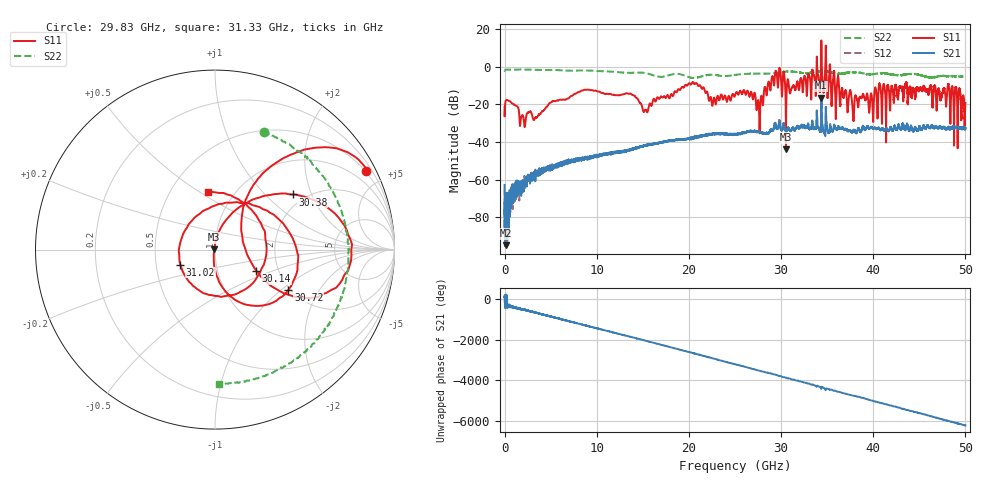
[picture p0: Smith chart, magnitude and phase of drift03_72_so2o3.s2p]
!Created with skrf (http://scikit-rf.org).
# Hz S RI R 50.0
!freq ReS11 ImS11 ReS21 ImS21 ReS12 ImS12 ReS22 ImS22
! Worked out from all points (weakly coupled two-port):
!   10001 points, 300 kHz to 50 GHz, reference 50 ohm
!   highest |S21| = -16.37 dB at 34.37 GHz (marker M1); lowest = -94.9 dB at 140.3 MHz (marker M2)
!   lowest |S11| = -43.9 dB at 30.53 GHz (marker M3), VSWR 1.01, Z = 49.4 + j0.264 ohm
!   |S11| at or under -10 dB: start of sweep to 19.55 GHz; 21.25 GHz to 28.55 GHz (7.296 GHz wide, 29.3 % of centre); 36.28 GHz to 40.61 GHz (4.331 GHz wide, 11.3 % of centre) (the widest 3 of 40)
!   |S22| runs from -5.9 to -1.3 dB; largest |S21 - S12| = 0.026
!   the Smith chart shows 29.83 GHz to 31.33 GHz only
!   S11 on the Smith chart (normalised r, x): 29.83 GHz: 0.44, +4.05; 30.14 GHz: 1.54, -0.39; 30.38 GHz: 1.73, +1.47; 30.72 GHz: 1.96, -1.12; 31.02 GHz: 0.67, -0.12; 31.33 GHz: 0.76, +0.54
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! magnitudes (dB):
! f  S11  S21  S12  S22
! 300 kHz  -21.2  -62.8  -64.7  -2.0
! 140.3 MHz  -17.8  -94.9  -69.3  -1.5
! 3.3 GHz  -27.3  -57.3  -57.4  -1.5
! 8.335 GHz  -12.6  -49.2  -49.2  -1.9
! 15.28 GHz  -22.8  -41.8  -41.7  -3.3
! 16.67 GHz  -16.5  -40.7  -40.5  -5.2
! 20.27 GHz  -9.1  -37.9  -38.2  -5.8
! 22.71 GHz  -16.4  -35.4  -35.4  -4.2
! 25 GHz  -15.3  -35.8  -35.9  -4.3
! 27.53 GHz  -17.8  -34.6  -34.5  -3.5
! 29.83 GHz  -0.4  -29.2  -28.2  -3.0
! 30.14 GHz  -11.8  -33.1  -33.6  -2.7
! 30.38 GHz  -5.5  -32.0  -32.5  -2.6
! 30.53 GHz  -43.9  -33.9  -34.1  -2.5
! 30.72 GHz  -6.6  -32.9  -32.8  -2.4
! 31.02 GHz  -13.5  -34.4  -34.3  -2.4
! 31.33 GHz  -9.9  -32.6  -32.6  -2.5
! 33.34 GHz  -7.3  -31.3  -31.1  -2.9
! 34.37 GHz  14.1  -16.4  -17.5  -2.3
! 37.87 GHz  -28.8  -33.6  -34.0  -2.9
! 41.67 GHz  -11.3  -34.2  -33.9  -3.7
! 50 GHz  -19.2  -32.6  -32.7  -4.9
